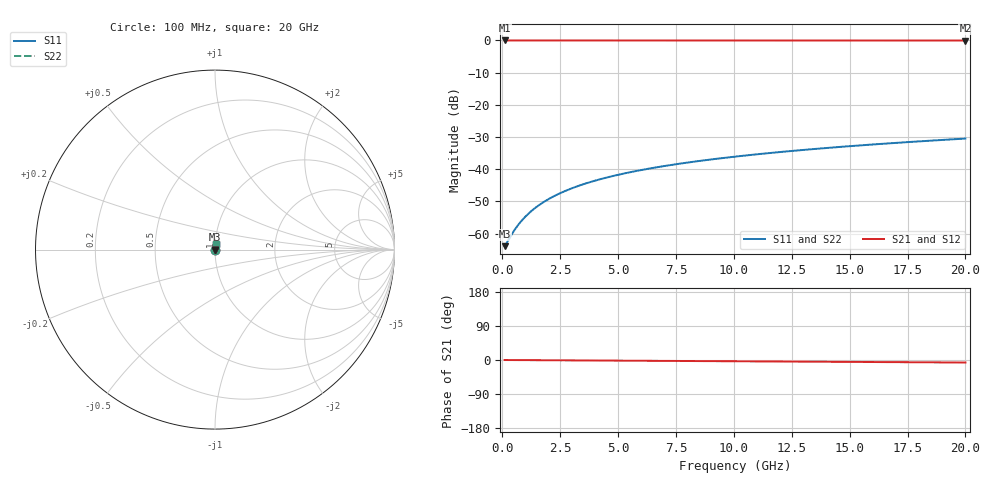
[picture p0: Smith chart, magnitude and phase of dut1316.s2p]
! Touchstone file exported from HFSS 2026.1.0
!  File:  C:/ffzhzh/LocalFiles/Ansys_Project_Files/temp_train_TSV_1316_1783195034_43440.aedt
!  Generated:  03:59:21 AM Jul  5, 2026
!  Design:  TSV
!  Project:  temp_train_TSV_1316_1783195034_43440
! Variables:
!  h_bsmrdl = 2um
!  h_ox = 20um
!  h_rdl = 5um
!  h_sub = 67.36um
!  h_tmrdl = 5um
!  h_tsv = 67.36um
!  h_via = 3um
!  l_bsmrdl = 300um
!  l_sub = 407.32um
!  l_tmrdl = 200um
!  m_sub = 200um
!  pitch = 21.34um
!  r_tsv = 3.66um
!  s_tmrdl = 10um
!  w_bsmrdl = 18um
!  w_sub = 500um
!  w_tmrdl = 12um
!  x_tsv_center1 = 206um
!  x_tsv_center2 = 524um
!  x_tsv_center3 = 736um
!  x_tsv_center4 = 1054um
!  x_tsv_center5 = 1266um
!  x_tsv_center6 = 1584um
# GHz S MA R 50.000000
! Terminal data exported
! Port[1] = TSV1_1_T1
! Port[2] = TSV1_1_T2
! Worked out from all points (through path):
!   200 points, 100 MHz to 20 GHz, reference 50 ohm
!   highest |S21| = -0.01 dB at 100 MHz (marker M1); lowest = 0.0 dB at 20 GHz (marker M2)
!   lowest |S11| = -63.9 dB at 100 MHz (marker M3), VSWR 1.00, Z = 50.1 + j0.0187 ohm
!   |S11| at or under -10 dB: start of sweep to end of sweep
!   |S22| runs from -63.9 to -30.5 dB; largest |S21 - S12| = 2.3e-15
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0.1  0.0006362 17.1  0.9994 -0.0  0.9994 -0.0  0.0006362 17.1
! Gamma 0 0 0 0
! Port Impedance 50 0 50 0
0.2  0.000722 30.6  0.9994 -0.1  0.9994 -0.1  0.000722 30.6
0.4  0.0009606 47.4  0.9994 -0.1  0.9994 -0.1  0.0009606 47.4
0.5  0.001095 52.8  0.9993 -0.2  0.9993 -0.2  0.001095 52.8
0.7  0.00138 60.5  0.9993 -0.2  0.9993 -0.2  0.00138 60.5
1  0.001835 67.4  0.9993 -0.3  0.9993 -0.3  0.001835 67.4
1.2  0.002149 70.3  0.9993 -0.4  0.9993 -0.4  0.002149 70.3
1.4  0.002466 72.4  0.9993 -0.5  0.9993 -0.5  0.002466 72.4
1.8  0.003109 75.3  0.9992 -0.6  0.9992 -0.6  0.003109 75.3
2.3  0.003915 77.3  0.9992 -0.8  0.9992 -0.8  0.003915 77.3
2.9  0.00488 78.7  0.9991 -1.0  0.9991 -1.0  0.00488 78.7
3.5  0.005835 79.4  0.999 -1.2  0.999 -1.2  0.005835 79.4
4.2  0.006936 79.9  0.9989 -1.4  0.9989 -1.4  0.006936 79.9
5  0.008174 80.1  0.9988 -1.7  0.9988 -1.7  0.008174 80.1
5.9  0.009544 80.3  0.9987 -2.0  0.9987 -2.0  0.009544 80.3
6.8  0.01089 80.3  0.9985 -2.3  0.9985 -2.3  0.01089 80.3
8.3  0.01311 80.3  0.9983 -2.8  0.9983 -2.8  0.01311 80.3
10.1  0.01573 80.1  0.9981 -3.4  0.9981 -3.4  0.01573 80.1
11.7  0.01804 80.0  0.9979 -3.9  0.9979 -3.9  0.01804 80.0
13.4  0.02048 79.7  0.9977 -4.5  0.9977 -4.5  0.02048 79.8
16.7  0.02519 79.2  0.9974 -5.6  0.9974 -5.6  0.02519 79.2
20  0.02987 78.5  0.997 -6.7  0.997 -6.7  0.02987 78.5
